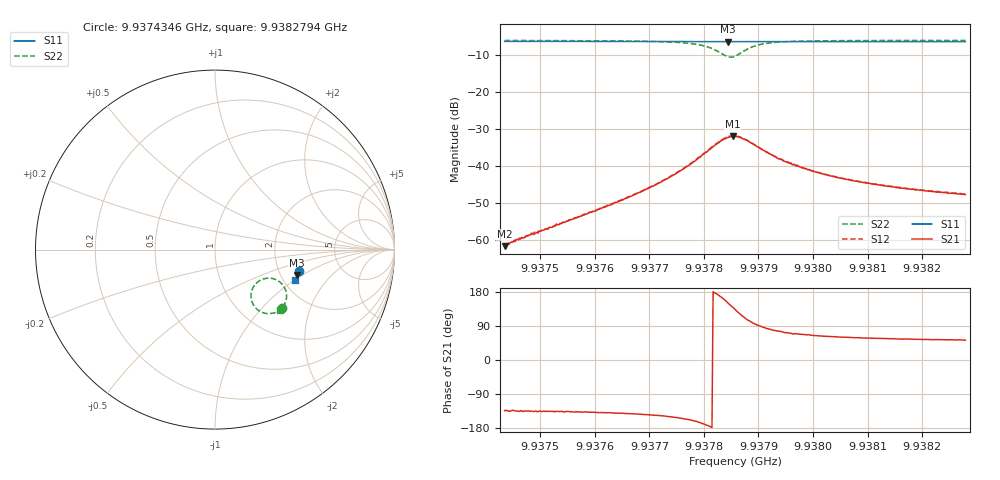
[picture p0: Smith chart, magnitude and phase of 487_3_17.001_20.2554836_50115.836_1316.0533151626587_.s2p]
#  HZ  S  RI  R  50.00
! Rohde & Schwarz Vector Network Analyzer
! Rohde-Schwarz,ZNB20-2Port,1311601062101988,3.16
! Created: UTC 3/20/2024, 11:13:56 PM
! freq[Hz]  re:S11  im:S11  re:S21  im:S21  re:S12  im:S12  re:S22  im:S22
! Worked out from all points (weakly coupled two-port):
!   401 points, 9.9374346 GHz to 9.9382794 GHz, reference 50 ohm
!   highest |S21| = -31.87 dB at 9.9378528 GHz (marker M1); lowest = -61.6 dB at 9.9374346 GHz (marker M2)
!   lowest |S11| = -6.4 dB at 9.9378443 GHz (marker M3), VSWR 2.83, Z = 122 - j45.3 ohm
!   |S11| at or under -10 dB: nowhere
!   |S22| runs from -10.6 to -6.1 dB; largest |S21 - S12| = 0.001
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9.93743462e9  0.4686 -0.1173  -0.000581 -0.000602  -0.000619 -0.000619  0.3752 -0.3258
9.93746207e9  0.4679 -0.1193  -0.000772 -0.000744  -0.000756 -0.000752  0.3728 -0.3278
9.93749164e9  0.4672 -0.1211  -0.000872 -0.00089  -0.000916 -0.00088  0.37 -0.3304
9.93757612e9  0.4654 -0.1269  -0.00157 -0.00145  -0.00162 -0.00144  0.3596 -0.338
9.93765426e9  0.4635 -0.132  -0.00284 -0.00228  -0.0029 -0.00225  0.3451 -0.3464
9.93771762e9  0.4618 -0.1366  -0.00495 -0.00327  -0.00511 -0.00322  0.3236 -0.3543
9.93776198e9  0.4603 -0.1394  -0.00826 -0.00393  -0.00852 -0.00386  0.294 -0.3568
9.93779999e9  0.4588 -0.1421  -0.0143 -0.00279  -0.0148 -0.00263  0.2459 -0.3417
9.93782111e9  0.4575 -0.1429  -0.0194 0.00115  -0.0197 0.00177  0.2111 -0.3024
9.93783378e9  0.4567 -0.1433  -0.0215 0.00628  -0.022 0.00709  0.2003 -0.2585
9.93784434e9  0.4563 -0.1433  -0.0212 0.0122  -0.0214 0.013  0.2107 -0.2139
9.93785279e9  0.4564 -0.1432  -0.0194 0.0165  -0.019 0.0175  0.2356 -0.1823
9.93785702e9  0.4565 -0.1432  -0.0175 0.0184  -0.0171 0.0192  0.252 -0.1711
9.93786758e9  0.4566 -0.1435  -0.012 0.0212  -0.0116 0.0218  0.2974 -0.159
9.93788236e9  0.4573 -0.1442  -0.00525 0.0209  -0.0046 0.0213  0.3494 -0.1725
9.93790559e9  0.4573 -0.146  0.00053 0.017  0.00106 0.0171  0.3876 -0.213
9.93794994e9  0.4567 -0.1496  0.00354 0.0109  0.00375 0.0111  0.3989 -0.2654
9.93799852e9  0.4557 -0.153  0.00365 0.00782  0.00385 0.00782  0.3931 -0.2929
9.93807455e9  0.4537 -0.1581  0.00325 0.00545  0.0034 0.00549  0.383 -0.3139
9.93814002e9  0.4518 -0.1624  0.003 0.00445  0.00308 0.00445  0.3756 -0.3247
9.93819071e9  0.4506 -0.1657  0.0028 0.00393  0.00288 0.00391  0.371 -0.3306
9.93827942e9  0.448 -0.1714  0.00254 0.00328  0.00265 0.00334  0.3637 -0.3391
